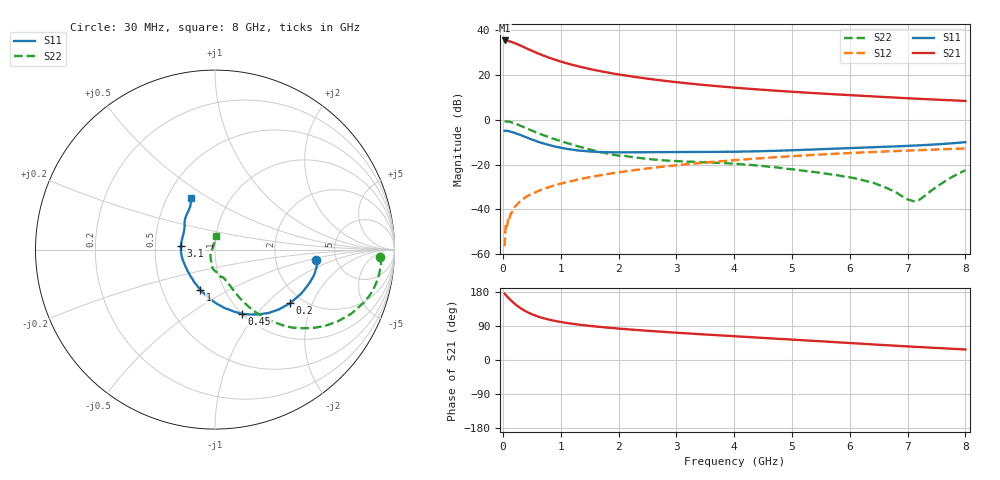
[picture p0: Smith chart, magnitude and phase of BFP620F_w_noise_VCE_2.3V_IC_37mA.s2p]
! (c) 2014  Infineon Technologies AG, Munich
! Infineon Technologies  Discrete & RF Semiconductors
! BFP620F
! VCE =  2.3 V,  IC =  37 mA
! Common Emitter S-Parameters:  Dec 2014
# GHz  S  MA  R  50
!  f  S11  S21  S12  S22
! GHz  MAG  ANG  MAG  ANG  MAG  ANG  MAG  ANG
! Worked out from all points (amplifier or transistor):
!   95 points, 30 MHz to 8 GHz, reference 50 ohm
!   highest |S21| = 35.5 dB at 30 MHz (marker M1)
!   |S21| within 3 dB of that: start of sweep to 363.9 MHz
!   unconditionally stable (mu >= 1): 2.161 GHz to end of sweep
!   at 300 MHz: K = 0.47, MSG = 34.8 dB, |S12| = -36.4 dB
!   at 3.3 GHz: K = 1.03, MAG = 16.7 dB, |S12| = -19.6 dB
!   at 8 GHz: K = 1.06, MAG = 9.2 dB, |S12| = -12.8 dB
!   lowest NFmin = 1.29 dB at 450 MHz
!   S11 on the Smith chart (normalised r, x): 30 MHz: 3.51, -0.60; 200 MHz: 1.72, -1.40; 450 MHz: 1.00, -0.84; 1 GHz: 0.77, -0.37; 3.1 GHz: 0.68, +0.03; 8 GHz: 0.65, +0.42
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0.03  0.5673 -5.9  59.78 174.9  0.0015 63.9  0.9186 -2.4
0.07  0.5713 -13.1  59.08 168.3  0.0042 73.9  0.925 -8.3
0.11  0.5552 -20.7  57.42 161.7  0.0061 75.7  0.9095 -14.1
0.15  0.538 -27.4  55.43 155.9  0.0082 73.6  0.8819 -19.4
0.2  0.5141 -35.6  52.42 149.1  0.0111 72.7  0.8391 -25.2
0.25  0.4879 -43.0  49.37 142.8  0.013 70.9  0.7928 -30.3
0.3  0.4624 -49.8  46.23 137.4  0.0152 69.5  0.7454 -34.8
0.35  0.4344 -56.2  43.12 132.5  0.0169 69.5  0.6987 -38.7
0.45  0.3882 -67.1  37.66 124.4  0.0206 68.2  0.6154 -45.0
0.5  0.3646 -72.2  35.2 121.0  0.0221 67.6  0.5776 -47.5
0.6  0.3274 -81.4  30.96 115.1  0.0253 67.3  0.5101 -51.6
0.7  0.2978 -89.2  27.51 110.4  0.0285 67.2  0.4556 -54.9
0.8  0.2741 -96.7  24.61 106.5  0.0315 67.1  0.4089 -57.4
1  0.2392 -109.9  20.23 100.4  0.0375 67.2  0.3355 -61.2
1.4  0.2024 -132.2  14.75 91.8  0.0494 66.7  0.2372 -66.2
2  0.1878 -158.1  10.42 83.0  0.0669 65.1  0.1592 -74.2
2.7  0.1902 -178.1  7.752 75.1  0.0879 62.0  0.1273 -85.6
3.1  0.1917 173.2  6.764 71.1  0.0995 60.0  0.1181 -90.3
4.1  0.1953 155.3  5.151 61.8  0.1285 54.4  0.1028 -97.5
5.4  0.2187 140.8  3.963 50.2  0.1656 46.2  0.0679 -108.5
6.7  0.2529 128.1  3.198 38.5  0.1986 37.2  0.0276 -144.9
8  0.3174 115.4  2.656 27.7  0.23 28.6  0.0745 87.2
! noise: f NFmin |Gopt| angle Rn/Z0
0.45  1.29  0.13  -172  0.16
0.9  1.32  0.13  -172  0.13
1.5  1.33  0.17  -151  0.11
1.8  1.34  0.18  -151  0.12
1.9  1.35  0.18  -150  0.12
2.4  1.37  0.19  215  0.14
3.5  1.43  0.19  219  0.18
5.5  1.57  0.25  245  0.16
6  1.61  0.26  261  0.18
